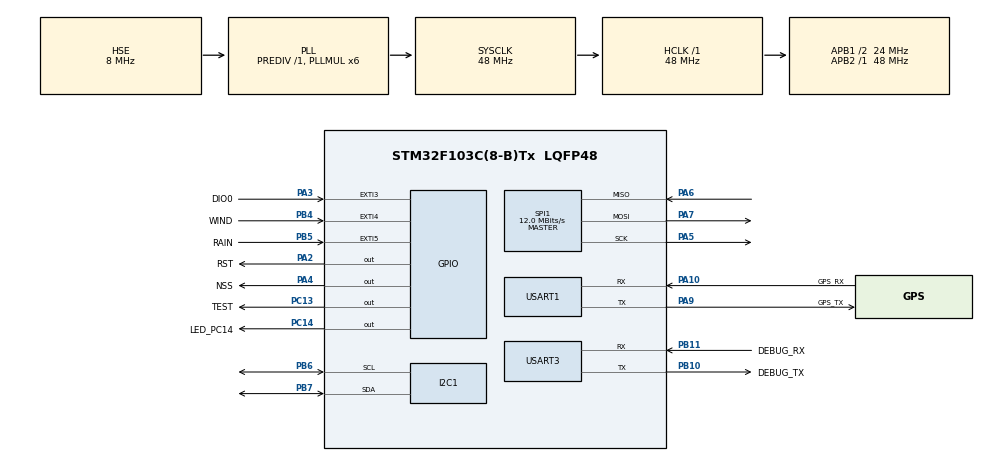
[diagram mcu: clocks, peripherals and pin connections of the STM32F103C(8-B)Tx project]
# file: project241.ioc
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Mcu.Family=STM32F1
Mcu.Name=STM32F103C(8-B)Tx
Mcu.Package=LQFP48
NVIC.EXTI3_IRQn=true\:0\:0\:false\:false\:true\:true\:true\:true
NVIC.EXTI4_IRQn=true\:0\:0\:false\:false\:true\:true\:true\:true
NVIC.EXTI9_5_IRQn=true\:0\:0\:false\:false\:true\:true\:true\:true
NVIC.PriorityGroup=NVIC_PRIORITYGROUP_4
PA10.GPIO_Label=GPS_RX
PA10.Mode=Asynchronous
PA10.Signal=USART1_RX
PA13.Mode=Serial_Wire
PA13.Signal=SYS_JTMS-SWDIO
PA14.Mode=Serial_Wire
PA14.Signal=SYS_JTCK-SWCLK
PA2.GPIO_Label=RST
PA2.Signal=GPIO_Output
PA3.GPIO_Label=DIO0
PA3.GPIO_ModeDefaultEXTI=GPIO_MODE_IT_FALLING
PA3.Signal=GPXTI3
PA4.GPIO_Label=NSS
PA4.Signal=GPIO_Output
PA5.Mode=Full_Duplex_Master
PA5.Signal=SPI1_SCK
PA6.Mode=Full_Duplex_Master
PA6.Signal=SPI1_MISO
PA7.Mode=Full_Duplex_Master
PA7.Signal=SPI1_MOSI
PA9.GPIO_Label=GPS_TX
PA9.Mode=Asynchronous
PA9.Signal=USART1_TX
PB10.GPIO_Label=DEBUG_TX
PB10.Mode=Asynchronous
PB10.Signal=USART3_TX
PB11.GPIO_Label=DEBUG_RX
PB11.Mode=Asynchronous
PB11.Signal=USART3_RX
PB4.GPIO_Label=WIND
PB4.GPIO_ModeDefaultEXTI=GPIO_MODE_IT_FALLING
PB4.Signal=GPXTI4
PB5.GPIO_Label=RAIN
PB5.GPIO_ModeDefaultEXTI=GPIO_MODE_IT_FALLING
PB5.Signal=GPXTI5
PB6.Mode=I2C
PB6.Signal=I2C1_SCL
PB7.Mode=I2C
PB7.Signal=I2C1_SDA
PC13-TAMPER-RTC.GPIO_Label=TEST
PC13-TAMPER-RTC.Signal=GPIO_Output
PC14-OSC32_IN.GPIO_Label=LED_PC14
PC14-OSC32_IN.Signal=GPIO_Output
PD0-OSC_IN.Mode=HSE-External-Oscillator
PD0-OSC_IN.Signal=RCC_OSC_IN
PD1-OSC_OUT.Mode=HSE-External-Oscillator
PD1-OSC_OUT.Signal=RCC_OSC_OUT
ProjectManager.HeapSize=0x200
ProjectManager.StackSize=0x400
ProjectManager.TargetToolchain=STM32CubeIDE
RCC.AHBFreq_Value=48000000
RCC.APB1CLKDivider=RCC_HCLK_DIV2
RCC.APB1Freq_Value=24000000
RCC.APB1TimFreq_Value=48000000
RCC.APB2Freq_Value=48000000
RCC.APB2TimFreq_Value=48000000
RCC.HCLKFreq_Value=48000000
RCC.PLLMUL=RCC_PLL_MUL6
RCC.PLLSourceVirtual=RCC_PLLSOURCE_HSE
RCC.SYSCLKFreq_VALUE=48000000
RCC.SYSCLKSource=RCC_SYSCLKSOURCE_PLLCLK
RCC.USBFreq_Value=48000000
SPI1.BaudRatePrescaler=SPI_BAUDRATEPRESCALER_4
SPI1.CalculateBaudRate=12.0 MBits/s
SPI1.Direction=SPI_DIRECTION_2LINES
SPI1.Mode=SPI_MODE_MASTER
SPI1.VirtualType=VM_MASTER
USART1.VirtualMode=VM_ASYNC
USART3.VirtualMode=VM_ASYNC
board=custom

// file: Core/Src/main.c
/* USER CODE BEGIN Header */
/**
  ******************************************************************************
  * @file           : main.c
  * @brief          : Main program body
  ******************************************************************************
  * @attention
  *
  * Copyright (c) 2024 STMicroelectronics.
  * All rights reserved.
  *
  * This software is licensed under terms that can be found in the LICENSE file
  * in the root directory of this software component.
  * If no LICENSE file comes with this software, it is provided AS-IS.
  *
  ******************************************************************************
  */
/* USER CODE END Header */
#include "main.h"

/* USER CODE BEGIN Includes */
#include "lora.h"
#include <stdlib.h>
#include "hdc1080.h"
/* USER CODE END Includes */

I2C_HandleTypeDef hi2c1;

SPI_HandleTypeDef hspi1;

UART_HandleTypeDef huart1;
UART_HandleTypeDef huart3;

/* USER CODE BEGIN PV */
LoRa myLoRa;
uint8_t LoRa_stat = 0;
uint8_t RxBuffer[128];
int			RSSI;

float wind_speed = 0;
uint32_t wind_count = 0;
uint32_t rain_count =0;
float rain_fall=0;
uint32_t package =0;
extern check;
int __io_putchar(int ch)
{
  uint8_t temp = ch;
  HAL_UART_Transmit(&huart3, &temp, 1, HAL_MAX_DELAY);
  return ch;
}

volatile float temp;
volatile uint8_t humi;
volatile uint8_t read_data[2];
volatile uint16_t reg=0;
/* USER CODE END PV */

void SystemClock_Config(void);
static void MX_GPIO_Init(void);
static void MX_I2C1_Init(void);
static void MX_USART1_UART_Init(void);
static void MX_SPI1_Init(void);
static void MX_USART3_UART_Init(void);

int main(void)
{

  /* MCU Configuration--------------------------------------------------------*/

  /* Reset of all peripherals, Initializes the Flash interface and the Systick. */
  HAL_Init();

  /* Configure the system clock */
  SystemClock_Config();

  /* Initialize all configured peripherals */
  MX_GPIO_Init();
  MX_I2C1_Init();
  MX_USART1_UART_Init();
  MX_SPI1_Init();
  MX_USART3_UART_Init();
  /* USER CODE BEGIN 2 */
  hdc1080_init(&hi2c1,Temperature_Resolution_14_bit,Humidity_Resolution_14_bit);
  HAL_GPIO_WritePin(TEST_GPIO_Port, TEST_Pin, 1);
  HAL_Delay(2000);
  myLoRa = newLoRa();

  myLoRa.CS_port         = NSS_GPIO_Port;
  myLoRa.CS_pin          = NSS_Pin;
  myLoRa.reset_port      = RST_GPIO_Port;
  myLoRa.reset_pin       = RST_Pin;
  myLoRa.DIO0_port       = DIO0_GPIO_Port;
  myLoRa.DIO0_pin        = DIO0_Pin;
  myLoRa.hSPIx           = &hspi1;

  myLoRa.frequency             = 433;             // default = 433 MHz
  myLoRa.spredingFactor        = SF_11;            // default = SF_7
  myLoRa.bandWidth             = BW_62_5KHz;       // default = BW_125KHz
  myLoRa.crcRate               = CR_4_5;          // default = CR_4_5
  myLoRa.power                 = POWER_20db;      // default = 20db
  myLoRa.overCurrentProtection = 100;             // default = 100 mA
  myLoRa.preamble              = 8;              // default = 8;

  LoRa_reset(&myLoRa);
  if(LoRa_init(&myLoRa)==LORA_OK){
	  LoRa_stat = 1;
	  HAL_GPIO_WritePin(TEST_GPIO_Port, TEST_Pin, 0);
  }

  LoRa_startReceiving(&myLoRa);

  uint8_t TxBuffer[128];

  /* USER CODE END 2 */

  /* Infinite loop */
  while (1)
  {

    /* USER CODE BEGIN 3 */
		if(check == 1)
		{
			wind_speed = 0.088*wind_count;
			rain_fall = 0.174*rain_count;
			check = 0;
			wind_count = 0;
			hdc1080_start_measurement(&hi2c1,(float*)&temp,(uint8_t*)&humi);
			snprintf(TxBuffer,sizeof(TxBuffer),"package %d,Toc do gio: %.2f, Luong mua: %.2f\r\nNhiet do: %.2f, Do am: %d\r\n",package,wind_speed,rain_fall,temp,humi);
			HAL_UART_Transmit(&huart3, (uint8_t*)TxBuffer, strlen(TxBuffer), HAL_MAX_DELAY);
			package++;
			LoRa_transmit(&myLoRa, TxBuffer, strlen(TxBuffer), 1000);

		}
  }
  /* USER CODE END 3 */
}

void SystemClock_Config(void)
{
  RCC_OscInitTypeDef RCC_OscInitStruct = {0};
  RCC_ClkInitTypeDef RCC_ClkInitStruct = {0};

  /** Initializes the RCC Oscillators according to the specified parameters
  * in the RCC_OscInitTypeDef structure.
  */
  RCC_OscInitStruct.OscillatorType = RCC_OSCILLATORTYPE_HSE;
  RCC_OscInitStruct.HSEState = RCC_HSE_ON;
  RCC_OscInitStruct.HSEPredivValue = RCC_HSE_PREDIV_DIV1;
  RCC_OscInitStruct.HSIState = RCC_HSI_ON;
  RCC_OscInitStruct.PLL.PLLState = RCC_PLL_ON;
  RCC_OscInitStruct.PLL.PLLSource = RCC_PLLSOURCE_HSE;
  RCC_OscInitStruct.PLL.PLLMUL = RCC_PLL_MUL6;
  if (HAL_RCC_OscConfig(&RCC_OscInitStruct) != HAL_OK)
  {
    Error_Handler();
  }

  /** Initializes the CPU, AHB and APB buses clocks
  */
  RCC_ClkInitStruct.ClockType = RCC_CLOCKTYPE_HCLK|RCC_CLOCKTYPE_SYSCLK
                              |RCC_CLOCKTYPE_PCLK1|RCC_CLOCKTYPE_PCLK2;
  RCC_ClkInitStruct.SYSCLKSource = RCC_SYSCLKSOURCE_PLLCLK;
  RCC_ClkInitStruct.AHBCLKDivider = RCC_SYSCLK_DIV1;
  RCC_ClkInitStruct.APB1CLKDivider = RCC_HCLK_DIV2;
  RCC_ClkInitStruct.APB2CLKDivider = RCC_HCLK_DIV1;

  if (HAL_RCC_ClockConfig(&RCC_ClkInitStruct, FLASH_LATENCY_1) != HAL_OK)
  {
    Error_Handler();
  }
}

static void MX_I2C1_Init(void)
{

  hi2c1.Instance = I2C1;
  hi2c1.Init.ClockSpeed = 100000;
  hi2c1.Init.DutyCycle = I2C_DUTYCYCLE_2;
  hi2c1.Init.OwnAddress1 = 0;
  hi2c1.Init.AddressingMode = I2C_ADDRESSINGMODE_7BIT;
  hi2c1.Init.DualAddressMode = I2C_DUALADDRESS_DISABLE;
  hi2c1.Init.OwnAddress2 = 0;
  hi2c1.Init.GeneralCallMode = I2C_GENERALCALL_DISABLE;
  hi2c1.Init.NoStretchMode = I2C_NOSTRETCH_DISABLE;
  if (HAL_I2C_Init(&hi2c1) != HAL_OK)
  {
    Error_Handler();
  }

}

static void MX_SPI1_Init(void)
{

  /* SPI1 parameter configuration*/
  hspi1.Instance = SPI1;
  hspi1.Init.Mode = SPI_MODE_MASTER;
  hspi1.Init.Direction = SPI_DIRECTION_2LINES;
  hspi1.Init.DataSize = SPI_DATASIZE_8BIT;
  hspi1.Init.CLKPolarity = SPI_POLARITY_LOW;
  hspi1.Init.CLKPhase = SPI_PHASE_1EDGE;
  hspi1.Init.NSS = SPI_NSS_SOFT;
  hspi1.Init.BaudRatePrescaler = SPI_BAUDRATEPRESCALER_4;
  hspi1.Init.FirstBit = SPI_FIRSTBIT_MSB;
  hspi1.Init.TIMode = SPI_TIMODE_DISABLE;
  hspi1.Init.CRCCalculation = SPI_CRCCALCULATION_DISABLE;
  hspi1.Init.CRCPolynomial = 10;
  if (HAL_SPI_Init(&hspi1) != HAL_OK)
  {
    Error_Handler();
  }

}

static void MX_USART1_UART_Init(void)
{

  huart1.Instance = USART1;
  huart1.Init.BaudRate = 115200;
  huart1.Init.WordLength = UART_WORDLENGTH_8B;
  huart1.Init.StopBits = UART_STOPBITS_1;
  huart1.Init.Parity = UART_PARITY_NONE;
  huart1.Init.Mode = UART_MODE_TX_RX;
  huart1.Init.HwFlowCtl = UART_HWCONTROL_NONE;
  huart1.Init.OverSampling = UART_OVERSAMPLING_16;
  if (HAL_UART_Init(&huart1) != HAL_OK)
  {
    Error_Handler();
  }

}

static void MX_USART3_UART_Init(void)
{

  huart3.Instance = USART3;
  huart3.Init.BaudRate = 115200;
  huart3.Init.WordLength = UART_WORDLENGTH_8B;
  huart3.Init.StopBits = UART_STOPBITS_1;
  huart3.Init.Parity = UART_PARITY_NONE;
  huart3.Init.Mode = UART_MODE_TX_RX;
  huart3.Init.HwFlowCtl = UART_HWCONTROL_NONE;
  huart3.Init.OverSampling = UART_OVERSAMPLING_16;
  if (HAL_UART_Init(&huart3) != HAL_OK)
  {
    Error_Handler();
  }

}

static void MX_GPIO_Init(void)
{
  GPIO_InitTypeDef GPIO_InitStruct = {0};

  /* GPIO Ports Clock Enable */
  __HAL_RCC_GPIOC_CLK_ENABLE();
  __HAL_RCC_GPIOD_CLK_ENABLE();
  __HAL_RCC_GPIOA_CLK_ENABLE();
  __HAL_RCC_GPIOB_CLK_ENABLE();

  /*Configure GPIO pin Output Level */
  HAL_GPIO_WritePin(GPIOC, TEST_Pin|LED_PC14_Pin, GPIO_PIN_RESET);

  /*Configure GPIO pin Output Level */
  HAL_GPIO_WritePin(GPIOA, RST_Pin|NSS_Pin, GPIO_PIN_RESET);

  /*Configure GPIO pins : TEST_Pin LED_PC14_Pin */
  GPIO_InitStruct.Pin = TEST_Pin|LED_PC14_Pin;
  GPIO_InitStruct.Mode = GPIO_MODE_OUTPUT_PP;
  GPIO_InitStruct.Pull = GPIO_NOPULL;
  GPIO_InitStruct.Speed = GPIO_SPEED_FREQ_LOW;
  HAL_GPIO_Init(GPIOC, &GPIO_InitStruct);

  /*Configure GPIO pins : RST_Pin NSS_Pin */
  GPIO_InitStruct.Pin = RST_Pin|NSS_Pin;
  GPIO_InitStruct.Mode = GPIO_MODE_OUTPUT_PP;
  GPIO_InitStruct.Pull = GPIO_NOPULL;
  GPIO_InitStruct.Speed = GPIO_SPEED_FREQ_LOW;
  HAL_GPIO_Init(GPIOA, &GPIO_InitStruct);

  /*Configure GPIO pin : DIO0_Pin */
  GPIO_InitStruct.Pin = DIO0_Pin;
  GPIO_InitStruct.Mode = GPIO_MODE_IT_FALLING;
  GPIO_InitStruct.Pull = GPIO_NOPULL;
  HAL_GPIO_Init(DIO0_GPIO_Port, &GPIO_InitStruct);

  /*Configure GPIO pins : WIND_Pin RAIN_Pin */
  GPIO_InitStruct.Pin = WIND_Pin|RAIN_Pin;
  GPIO_InitStruct.Mode = GPIO_MODE_IT_FALLING;
  GPIO_InitStruct.Pull = GPIO_NOPULL;
  HAL_GPIO_Init(GPIOB, &GPIO_InitStruct);

  /* EXTI interrupt init*/
  HAL_NVIC_SetPriority(EXTI3_IRQn, 0, 0);
  HAL_NVIC_EnableIRQ(EXTI3_IRQn);

  HAL_NVIC_SetPriority(EXTI4_IRQn, 0, 0);
  HAL_NVIC_EnableIRQ(EXTI4_IRQn);

  HAL_NVIC_SetPriority(EXTI9_5_IRQn, 0, 0);
  HAL_NVIC_EnableIRQ(EXTI9_5_IRQn);

}

/* USER CODE BEGIN 4 */
void HAL_GPIO_EXTI_Callback(uint16_t GPIO_Pin){
	if(GPIO_Pin == myLoRa.DIO0_pin){
		//HAL_GPIO_TogglePin(TEST_GPIO_Port, TEST_Pin);
		//HAL_Delay(2000);
		  LoRa_receive(&myLoRa, RxBuffer, 128);
		  printf(RxBuffer);
	}
	if(GPIO_Pin == WIND_Pin)
	{
		//HAL_GPIO_TogglePin(TEST_GPIO_Port, TEST_Pin);
		wind_count++;
		//printf("%d\n",wind_count);

	}
	if(GPIO_Pin == RAIN_Pin)
	{
		rain_count++;
	}
}
/* USER CODE END 4 */

void Error_Handler(void)
{
  __disable_irq();
  while (1)
  {
  }
}
